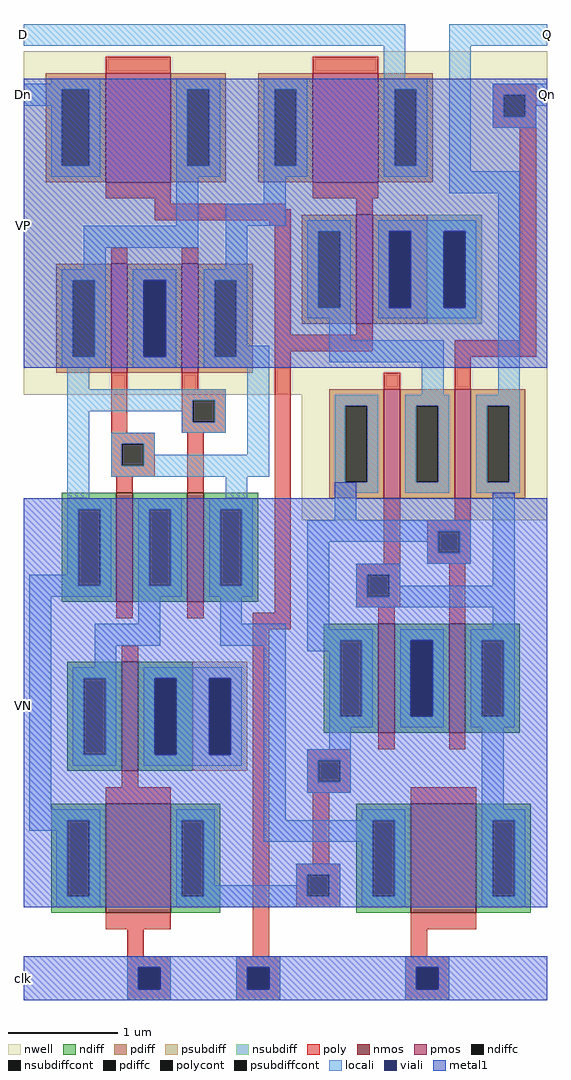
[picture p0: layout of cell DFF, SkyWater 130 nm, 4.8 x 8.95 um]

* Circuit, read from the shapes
.subckt DFF D Dn VP VN clk Q Qn
XM1 Qn clk n1 VN sky130_fd_pr__nfet_01v8 w=1 l=0.6
XM2 n2 n3 n1 VN sky130_fd_pr__nfet_01v8 w=1 l=0.15
XM3 VN clk n2 VN sky130_fd_pr__nfet_01v8 w=1 l=0.15
XM4 n3 n1 n2 VN sky130_fd_pr__nfet_01v8 w=1 l=0.15
XM5 VN Q Qn VN sky130_fd_pr__nfet_01v8 w=1 l=0.15
XM6 Q clk n3 VN sky130_fd_pr__nfet_01v8 w=1 l=0.6
XM7 Q Qn VN VN sky130_fd_pr__nfet_01v8 w=1 l=0.15
XM8 n1 clk Dn VP sky130_fd_pr__pfet_01v8 w=1 l=0.6
XM9 VP n3 n1 VP sky130_fd_pr__pfet_01v8 w=1 l=0.15
XM10 n3 n1 VP VP sky130_fd_pr__pfet_01v8 w=1 l=0.15
XM11 D clk n3 VP sky130_fd_pr__pfet_01v8 w=1 l=0.6
XM12 VP clk n4 VP sky130_fd_pr__pfet_01v8 w=1 l=0.15
XM13 n4 Q Qn VP sky130_fd_pr__pfet_01v8 w=1 l=0.15
XM14 Q Qn n4 VP sky130_fd_pr__pfet_01v8 w=1 l=0.15
.ends

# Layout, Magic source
magic
tech sky130A
<< nwell >>
rect -275 125 205 440
rect -20 10 205 125
<< nmos >>
rect -190 -65 -175 35
rect -125 -65 -110 35
rect -185 -220 -170 -120
rect -200 -350 -140 -250
rect 50 -185 65 -85
rect 115 -185 130 -85
rect 80 -350 140 -250
<< pmos >>
rect -200 320 -140 420
rect -10 320 50 420
rect -195 145 -180 245
rect -130 145 -115 245
rect 30 190 45 290
rect 55 30 70 130
rect 120 30 135 130
<< ndiff >>
rect -240 20 -190 35
rect -240 -50 -225 20
rect -205 -50 -190 20
rect -240 -65 -190 -50
rect -175 20 -125 35
rect -175 -50 -160 20
rect -140 -50 -125 20
rect -175 -65 -125 -50
rect -110 20 -60 35
rect -110 -50 -95 20
rect -75 -50 -60 20
rect -110 -65 -60 -50
rect -235 -135 -185 -120
rect -235 -205 -220 -135
rect -200 -205 -185 -135
rect -235 -220 -185 -205
rect -170 -135 -120 -120
rect -170 -205 -155 -135
rect -135 -205 -120 -135
rect -170 -220 -120 -205
rect -250 -265 -200 -250
rect -250 -335 -235 -265
rect -215 -335 -200 -265
rect -250 -350 -200 -335
rect -140 -265 -95 -250
rect -140 -335 -130 -265
rect -110 -335 -95 -265
rect -140 -350 -95 -335
rect 0 -100 50 -85
rect 0 -170 15 -100
rect 35 -170 50 -100
rect 0 -185 50 -170
rect 65 -100 115 -85
rect 65 -170 80 -100
rect 100 -170 115 -100
rect 65 -185 115 -170
rect 130 -100 180 -85
rect 130 -170 145 -100
rect 165 -170 180 -100
rect 130 -185 180 -170
rect 30 -265 80 -250
rect 30 -335 45 -265
rect 65 -335 80 -265
rect 30 -350 80 -335
rect 140 -265 190 -250
rect 140 -335 155 -265
rect 175 -335 190 -265
rect 140 -350 190 -335
<< pdiff >>
rect -255 405 -200 420
rect -255 335 -240 405
rect -215 335 -200 405
rect -255 320 -200 335
rect -140 405 -90 420
rect -140 335 -125 405
rect -105 335 -90 405
rect -140 320 -90 335
rect -60 405 -10 420
rect -60 335 -45 405
rect -25 335 -10 405
rect -60 320 -10 335
rect 50 405 100 420
rect 50 335 65 405
rect 85 335 100 405
rect 50 320 100 335
rect -245 230 -195 245
rect -245 160 -230 230
rect -210 160 -195 230
rect -245 145 -195 160
rect -180 230 -130 245
rect -180 160 -165 230
rect -145 160 -130 230
rect -180 145 -130 160
rect -115 230 -65 245
rect -115 160 -100 230
rect -80 160 -65 230
rect -115 145 -65 160
rect -20 275 30 290
rect -20 205 -5 275
rect 15 205 30 275
rect -20 190 30 205
rect 45 275 95 290
rect 45 205 60 275
rect 80 205 95 275
rect 45 190 95 205
rect 5 115 55 130
rect 5 45 20 115
rect 40 45 55 115
rect 5 30 55 45
rect 70 115 120 130
rect 70 45 85 115
rect 105 45 120 115
rect 70 30 120 45
rect 135 115 185 130
rect 135 45 150 115
rect 170 45 185 115
rect 135 30 185 45
<< ndiffc >>
rect -225 -50 -205 20
rect -160 -50 -140 20
rect -95 -50 -75 20
rect -220 -205 -200 -135
rect -155 -205 -135 -135
rect -235 -335 -215 -265
rect -130 -335 -110 -265
rect 15 -170 35 -100
rect 80 -170 100 -100
rect 145 -170 165 -100
rect 45 -335 65 -265
rect 155 -335 175 -265
<< pdiffc >>
rect -240 335 -215 405
rect -125 335 -105 405
rect -45 335 -25 405
rect 65 335 85 405
rect -230 160 -210 230
rect -165 160 -145 230
rect -100 160 -80 230
rect -5 205 15 275
rect 60 205 80 275
rect 20 45 40 115
rect 85 45 105 115
rect 150 45 170 115
<< psubdiff >>
rect -120 -135 -70 -120
rect -120 -205 -105 -135
rect -85 -205 -70 -135
rect -120 -220 -70 -205
<< nsubdiff >>
rect 95 275 145 290
rect 95 205 110 275
rect 130 205 145 275
rect 95 190 145 205
<< psubdiffcont >>
rect -105 -205 -85 -135
<< nsubdiffcont >>
rect 110 205 130 275
<< poly >>
rect -200 420 -140 435
rect -10 420 50 435
rect 155 400 195 410
rect 155 380 165 400
rect 185 380 195 400
rect 155 370 195 380
rect -200 305 -140 320
rect -10 305 50 320
rect -155 300 -140 305
rect -155 295 -35 300
rect -155 285 -30 295
rect 30 290 45 305
rect -50 280 -30 285
rect -195 245 -180 260
rect -130 245 -115 260
rect -45 180 -30 280
rect 30 180 45 190
rect -45 165 45 180
rect 180 175 195 370
rect -195 90 -180 145
rect -130 130 -115 145
rect -130 120 -90 130
rect -130 100 -120 120
rect -100 100 -90 120
rect -130 90 -90 100
rect -195 80 -155 90
rect -195 60 -185 80
rect -165 60 -155 80
rect -195 50 -155 60
rect -190 35 -175 50
rect -125 35 -110 90
rect -190 -80 -175 -65
rect -125 -80 -110 -65
rect -45 -75 -30 165
rect 120 160 195 175
rect 55 130 70 145
rect 120 130 135 160
rect 55 -30 70 30
rect 120 10 135 30
rect 95 0 135 10
rect 95 -20 105 0
rect 125 -20 135 0
rect 95 -30 135 -20
rect 30 -40 70 -30
rect 30 -60 40 -40
rect 60 -60 70 -40
rect 30 -70 70 -60
rect -65 -90 -30 -75
rect 50 -85 65 -70
rect 115 -85 130 -30
rect -185 -120 -170 -105
rect -185 -235 -170 -220
rect -200 -250 -140 -235
rect -200 -365 -140 -350
rect -180 -390 -165 -365
rect -65 -390 -50 -90
rect 50 -200 65 -185
rect 115 -200 130 -185
rect -15 -210 25 -200
rect -15 -230 -5 -210
rect 15 -230 25 -210
rect -15 -240 25 -230
rect -10 -305 5 -240
rect 80 -250 140 -235
rect -25 -315 15 -305
rect -25 -335 -15 -315
rect 5 -335 15 -315
rect -25 -345 15 -335
rect 80 -365 140 -350
rect 80 -390 95 -365
rect -180 -400 -140 -390
rect -180 -420 -170 -400
rect -150 -420 -140 -400
rect -180 -430 -140 -420
rect -80 -400 -40 -390
rect -80 -420 -70 -400
rect -50 -420 -40 -400
rect -80 -430 -40 -420
rect 75 -400 115 -390
rect 75 -420 85 -400
rect 105 -420 115 -400
rect 75 -430 115 -420
<< polycont >>
rect 165 380 185 400
rect -120 100 -100 120
rect -185 60 -165 80
rect 105 -20 125 0
rect 40 -60 60 -40
rect -5 -230 15 -210
rect -15 -335 5 -315
rect -170 -420 -150 -400
rect -70 -420 -50 -400
rect 85 -420 105 -400
<< locali >>
rect -275 445 75 465
rect 55 415 75 445
rect 115 445 205 465
rect -250 410 -205 415
rect -275 405 -205 410
rect -275 390 -240 405
rect -250 335 -240 390
rect -215 335 -205 405
rect -250 325 -205 335
rect -135 405 -95 415
rect -135 335 -125 405
rect -105 335 -95 405
rect -135 325 -95 335
rect -55 405 -15 415
rect -55 335 -45 405
rect -25 335 -15 405
rect -55 325 -15 335
rect 55 405 95 415
rect 55 335 65 405
rect 85 335 95 405
rect 55 325 95 335
rect 115 330 135 445
rect 155 400 205 410
rect 155 380 165 400
rect 185 390 205 400
rect 185 380 195 390
rect 155 370 195 380
rect -135 280 -115 325
rect -55 300 -35 325
rect 115 310 180 330
rect -220 260 -115 280
rect -90 280 -35 300
rect -220 240 -200 260
rect -90 240 -70 280
rect -240 230 -200 240
rect -240 160 -230 230
rect -210 160 -200 230
rect -240 150 -200 160
rect -175 230 -135 240
rect -175 160 -165 230
rect -145 160 -135 230
rect -175 150 -135 160
rect -110 230 -70 240
rect -110 160 -100 230
rect -80 170 -70 230
rect -15 275 25 285
rect -15 205 -5 275
rect 15 205 25 275
rect -15 195 25 205
rect 50 275 140 285
rect 50 205 60 275
rect 80 205 110 275
rect 130 205 140 275
rect 50 195 140 205
rect 5 175 25 195
rect -80 160 -50 170
rect -110 150 -50 160
rect 5 155 110 175
rect -235 130 -215 150
rect -235 120 -90 130
rect -235 110 -120 120
rect -235 30 -215 110
rect -130 100 -120 110
rect -100 100 -90 120
rect -130 90 -90 100
rect -195 80 -155 90
rect -195 60 -185 80
rect -165 70 -155 80
rect -70 70 -50 150
rect 90 125 110 155
rect 160 125 180 310
rect -165 60 -50 70
rect -195 50 -50 60
rect 10 115 50 125
rect -90 30 -70 50
rect 10 45 20 115
rect 40 45 50 115
rect 10 35 50 45
rect 75 115 115 125
rect 75 45 85 115
rect 105 45 115 115
rect 75 35 115 45
rect 140 115 180 125
rect 140 45 150 115
rect 170 45 180 115
rect 140 35 180 45
rect -235 20 -195 30
rect -235 -40 -225 20
rect -270 -50 -225 -40
rect -205 -50 -195 20
rect -270 -60 -195 -50
rect -170 20 -130 30
rect -170 -50 -160 20
rect -140 -50 -130 20
rect -170 -60 -130 -50
rect -105 20 -65 30
rect -105 -50 -95 20
rect -75 -50 -65 20
rect 10 10 30 35
rect -105 -60 -65 -50
rect -15 0 135 10
rect -15 -10 105 0
rect -270 -255 -250 -60
rect -170 -85 -150 -60
rect -210 -105 -150 -85
rect -95 -85 -75 -60
rect -95 -105 -35 -85
rect -210 -125 -190 -105
rect -230 -135 -190 -125
rect -230 -205 -220 -135
rect -200 -205 -190 -135
rect -230 -215 -190 -205
rect -165 -135 -75 -125
rect -165 -205 -155 -135
rect -135 -205 -105 -135
rect -85 -205 -75 -135
rect -165 -215 -75 -205
rect -270 -265 -205 -255
rect -270 -275 -235 -265
rect -245 -335 -235 -275
rect -215 -335 -205 -265
rect -245 -345 -205 -335
rect -135 -265 -100 -255
rect -135 -335 -130 -265
rect -110 -325 -100 -265
rect -55 -265 -35 -105
rect -15 -90 5 -10
rect 95 -20 105 -10
rect 125 -20 135 0
rect 95 -30 135 -20
rect 30 -40 70 -30
rect 30 -60 40 -40
rect 60 -50 70 -40
rect 155 -50 175 35
rect 60 -60 175 -50
rect 30 -70 175 -60
rect 155 -90 175 -70
rect -15 -100 45 -90
rect -15 -110 15 -100
rect 5 -170 15 -110
rect 35 -170 45 -100
rect 5 -180 45 -170
rect 70 -100 110 -90
rect 70 -170 80 -100
rect 100 -170 110 -100
rect 70 -180 110 -170
rect 135 -100 175 -90
rect 135 -170 145 -100
rect 165 -170 175 -100
rect 135 -180 175 -170
rect 5 -200 25 -180
rect -15 -210 25 -200
rect -15 -230 -5 -210
rect 15 -230 25 -210
rect -15 -240 25 -230
rect 145 -255 165 -180
rect 35 -265 75 -255
rect -55 -285 45 -265
rect -25 -315 15 -305
rect -25 -325 -15 -315
rect -110 -335 -15 -325
rect 5 -335 15 -315
rect -135 -345 15 -335
rect 35 -335 45 -285
rect 65 -335 75 -265
rect 35 -345 75 -335
rect 145 -265 185 -255
rect 145 -335 155 -265
rect 175 -335 185 -265
rect 145 -345 185 -335
rect -180 -400 -140 -390
rect -180 -420 -170 -400
rect -150 -420 -140 -400
rect -180 -430 -140 -420
rect -80 -400 -40 -390
rect -80 -420 -70 -400
rect -50 -420 -40 -400
rect -80 -430 -40 -420
rect 75 -400 115 -390
rect 75 -420 85 -400
rect 105 -420 115 -400
rect 75 -430 115 -420
<< viali >>
rect -165 160 -145 230
rect 60 205 80 275
rect 110 205 130 275
rect -155 -205 -135 -135
rect -105 -205 -85 -135
rect 80 -170 100 -100
rect -170 -420 -150 -400
rect -70 -420 -50 -400
rect 85 -420 105 -400
<< metal1 >>
rect -275 275 205 415
rect -275 230 60 275
rect -275 160 -165 230
rect -145 205 60 230
rect 80 205 110 275
rect 130 205 205 275
rect -145 160 205 205
rect -275 150 205 160
rect 10 30 30 45
rect 155 30 175 35
rect -275 -100 205 30
rect -275 -135 80 -100
rect -275 -205 -155 -135
rect -135 -205 -105 -135
rect -85 -170 80 -135
rect 100 -170 205 -100
rect -85 -205 205 -170
rect -275 -345 205 -205
rect -275 -400 205 -390
rect -275 -420 -170 -400
rect -150 -420 -70 -400
rect -50 -420 85 -400
rect 105 -420 205 -400
rect -275 -430 205 -420
<< labels >>
rlabel metal1 -275 -410 -275 -410 7 clk
port 5 w
rlabel metal1 -275 -160 -275 -160 7 VN
port 4 w
rlabel locali -275 455 -275 455 7 D
port 1 w
rlabel metal1 -275 280 -275 280 7 VP
port 3 w
rlabel locali -275 400 -275 400 7 Dn
port 2 w
rlabel locali 205 400 205 400 3 Qn
port 7 e
rlabel locali 205 455 205 455 3 Q
port 6 e
<< end >>
